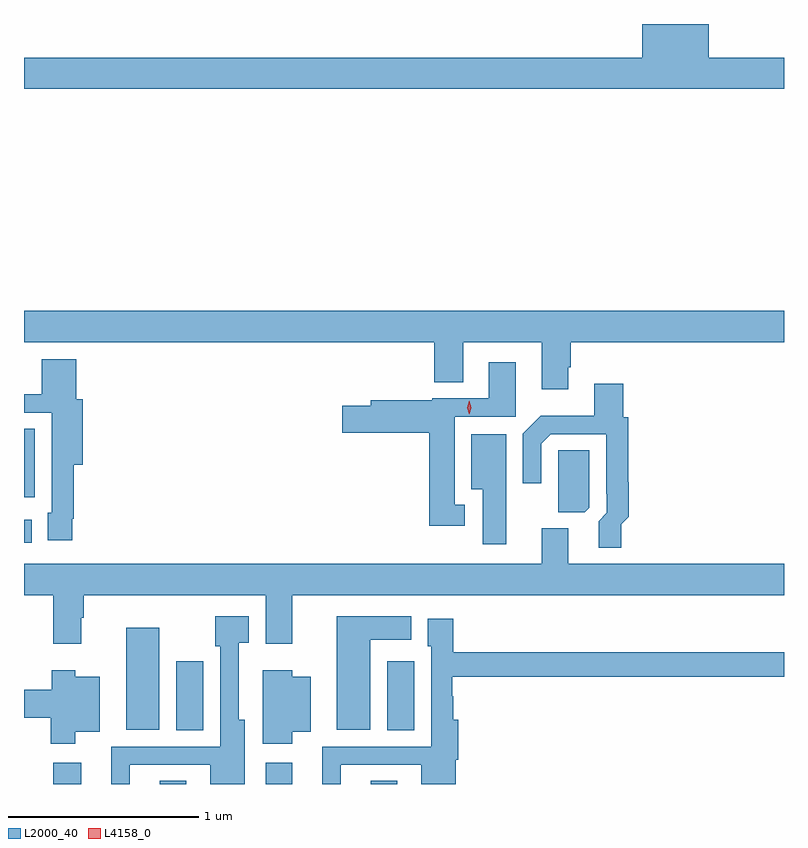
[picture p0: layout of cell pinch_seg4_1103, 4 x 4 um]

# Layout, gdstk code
import gdstk
lib = gdstk.Library(unit=1e-6, precision=1e-09)
def R(c, l, rs):  # rectangles x0, y0, x1, y1
    for r in rs: c.add(gdstk.rectangle(r[:2], r[2:], *l))
def P(c, l, *ps):  # polygons
    for p in ps: c.add(gdstk.Polygon(p, *l))
L2000_40 = (2000, 40)
L4158_0 = (4158, 0)

pinch_seg4_1103 = lib.new_cell('pinch_seg4_1103')
R(pinch_seg4_1103, L2000_40, [(459.964,797.158,460.111,797.269), (460.523,797.158,460.663,797.174), (461.081,797.158,461.221,797.269), (461.633,797.158,461.773,797.174), (460.61,797.44,460.753,797.803), (461.72,797.44,461.863,797.803), (460.346,797.444,460.522,797.98), (459.809,798.428,459.85,798.55), (459.809,798.666,459.865,799.028)])
P(pinch_seg4_1103, L2000_40, [(463.809,800.98),(463.414,800.98),(463.414,801.158),(463.064,801.158),(463.064,800.98),(459.809,800.98),(459.809,800.816),(463.809,800.816)],
  [(462.673,799.351),(462.686,799.351),(462.686,799.484),(463.809,799.484),(463.809,799.648),(459.809,799.648),(459.809,799.484),(461.969,799.484),(461.969,799.273),(462.121,799.273),(462.121,799.484),(462.533,799.484),(462.533,799.236),(462.673,799.236)],
  [(460.063,798.553),(460.07,798.553),(460.07,798.839),(460.117,798.839),(460.117,799.183),(460.084,799.183),(460.084,799.393),(459.902,799.393),(459.902,799.209),(459.809,799.209),(459.809,799.113),(459.954,799.113),(459.954,798.585),(459.935,798.585),(459.935,798.441),(460.063,798.441)],
  [(462.13,798.629),(462.076,798.629),(462.076,799.092),(462.397,799.092),(462.397,799.378),(462.254,799.378),(462.254,799.188),(461.958,799.188),(461.958,799.179),(461.633,799.179),(461.633,799.149),(461.484,799.149),(461.484,799.007),(461.942,799.007),(461.942,798.516),(462.13,798.516)],
  [(462.953,798.525),(462.992,798.564),(462.992,798.746),(462.989,798.746),(462.989,799.089),(462.962,799.089),(462.962,799.264),(462.809,799.264),(462.809,799.096),(462.529,799.096),(462.435,799.002),(462.435,798.741),(462.531,798.741),(462.531,798.948),(462.582,798.999),(462.873,798.999),(462.873,798.685),(462.876,798.685),(462.876,798.585),(462.833,798.542),(462.833,798.402),(462.953,798.402)],
  [(462.346,799),(462.164,799),(462.164,798.71),(462.224,798.71),(462.224,798.42),(462.346,798.42)],
  [(462.783,798.612),(462.783,798.914),(462.621,798.914),(462.621,798.803),(462.62,798.803),(462.62,798.589),(462.759,798.589)],
  [(459.809,798.152),(459.964,798.152),(459.964,797.895),(460.111,797.895),(460.111,798.032),(460.124,798.032),(460.124,798.152),(461.081,798.152),(461.081,797.895),(461.221,797.895),(461.221,798.152),(463.809,798.152),(463.809,798.316),(462.673,798.316),(462.673,798.504),(462.533,798.504),(462.533,798.316),(459.809,798.316)],
  [(461.632,797.918),(461.848,797.918),(461.848,798.04),(461.456,798.04),(461.456,797.444),(461.632,797.444)],
  [(460.366,797.259),(460.79,797.259),(460.79,797.158),(460.972,797.158),(460.972,797.497),(460.938,797.497),(460.938,797.902),(460.993,797.902),(460.993,798.04),(460.816,798.04),(460.816,797.883),(460.842,797.883),(460.842,797.355),(460.268,797.355),(460.268,797.158),(460.366,797.158)],
  [(461.476,797.259),(461.9,797.259),(461.9,797.158),(462.082,797.158),(462.082,797.286),(462.095,797.286),(462.095,797.497),(462.068,797.497),(462.068,797.619),(462.064,797.619),(462.064,797.722),(463.809,797.722),(463.809,797.851),(462.068,797.851),(462.068,798.028),(461.933,798.028),(461.933,797.883),(461.952,797.883),(461.952,797.355),(461.378,797.355),(461.378,797.158),(461.476,797.158)],
  [(461.221,797.432),(461.317,797.432),(461.317,797.722),(461.221,797.722),(461.221,797.758),(461.066,797.758),(461.066,797.37),(461.221,797.37)],
  [(460.078,797.432),(460.207,797.432),(460.207,797.722),(460.078,797.722),(460.078,797.758),(459.956,797.758),(459.956,797.653),(459.809,797.653),(459.809,797.507),(459.949,797.507),(459.949,797.37),(460.078,797.37)])
P(pinch_seg4_1103, L4158_0, [(462.153,799.103),(462.153,799.104),(462.143,799.139),(462.153,799.174),(462.153,799.174),(462.153,799.174),(462.163,799.139),(462.153,799.104)])

lib.write_gds('pinch_seg4_1103.gds')
